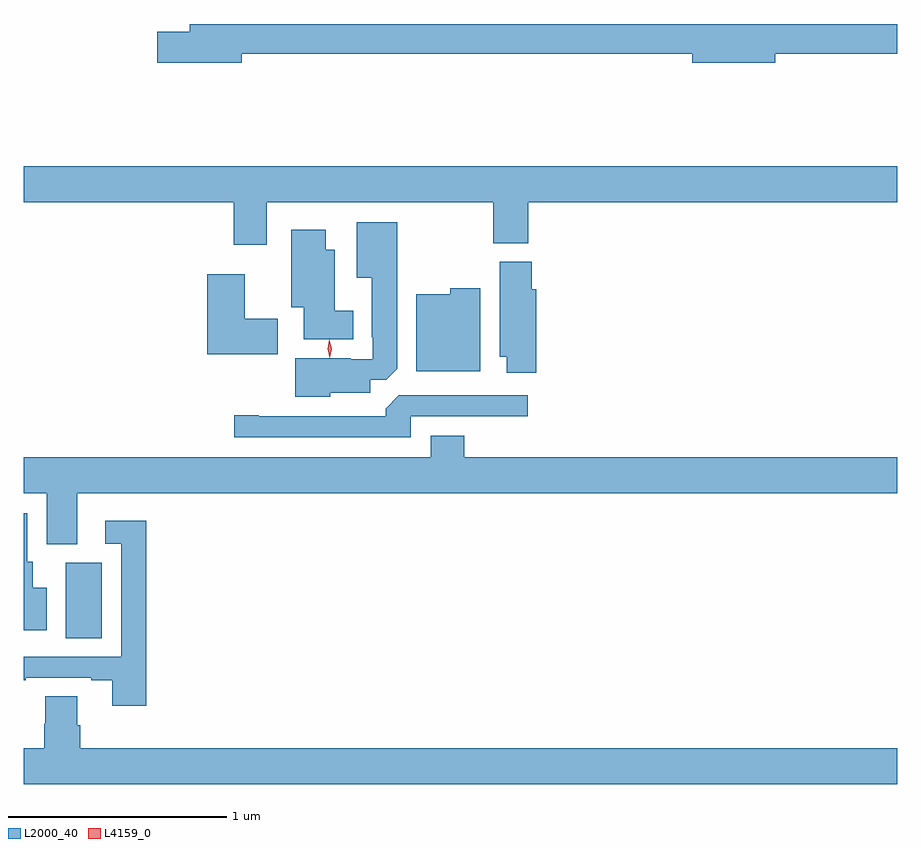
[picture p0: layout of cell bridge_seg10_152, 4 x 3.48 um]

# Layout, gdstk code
import gdstk
lib = gdstk.Library(unit=1e-6, precision=1e-09)
def R(c, l, rs):  # rectangles x0, y0, x1, y1
    for r in rs: c.add(gdstk.rectangle(r[:2], r[2:], *l))
def P(c, l, *ps):  # polygons
    for p in ps: c.add(gdstk.Polygon(p, *l))
L2000_40 = (2000, 40)
L4159_0 = (4159, 0)

bridge_seg10_152 = lib.new_cell('bridge_seg10_152')
R(bridge_seg10_152, L2000_40, [(268.814,1255.696,268.978,1256.04)])
P(bridge_seg10_152, L2000_40, [(269.62,1258.372),(271.682,1258.372),(271.682,1258.33),(272.062,1258.33),(272.062,1258.372),(272.621,1258.372),(272.621,1258.508),(269.381,1258.508),(269.381,1258.472),(269.232,1258.472),(269.232,1258.33),(269.62,1258.33)],
  [(269.734,1257.692),(270.772,1257.692),(270.772,1257.505),(270.932,1257.505),(270.932,1257.692),(272.621,1257.692),(272.621,1257.856),(268.621,1257.856),(268.621,1257.692),(269.582,1257.692),(269.582,1257.498),(269.734,1257.498)],
  [(270.024,1256.819),(270.208,1256.819),(270.208,1256.88),(270.282,1256.88),(270.331,1256.929),(270.331,1257.601),(270.146,1257.601),(270.146,1257.347),(270.215,1257.347),(270.215,1257.073),(270.219,1257.073),(270.219,1256.973),(270.119,1256.973),(270.119,1256.977),(269.864,1256.977),(269.864,1256.801),(270.024,1256.801)],
  [(270.13,1257.196),(270.046,1257.196),(270.046,1257.475),(270.004,1257.475),(270.004,1257.565),(269.846,1257.565),(269.846,1257.212),(269.903,1257.212),(269.903,1257.065),(270.13,1257.065)],
  [(270.968,1257.294),(270.947,1257.294),(270.947,1257.42),(270.8,1257.42),(270.8,1256.984),(270.833,1256.984),(270.833,1256.91),(270.968,1256.91)],
  [(269.785,1257.159),(269.632,1257.159),(269.632,1257.361),(269.462,1257.361),(269.462,1256.996),(269.785,1256.996)],
  [(270.712,1257.298),(270.573,1257.298),(270.573,1257.271),(270.419,1257.271),(270.419,1256.918),(270.712,1256.918)],
  [(270.393,1256.712),(270.928,1256.712),(270.928,1256.808),(270.339,1256.808),(270.278,1256.746),(270.278,1256.712),(269.698,1256.712),(269.698,1256.717),(269.586,1256.717),(269.586,1256.616),(270.393,1256.616)],
  [(268.867,1256.36),(272.621,1256.36),(272.621,1256.524),(270.638,1256.524),(270.638,1256.623),(270.485,1256.623),(270.485,1256.524),(268.621,1256.524),(268.621,1256.36),(268.727,1256.36),(268.727,1256.125),(268.867,1256.125)],
  [(268.726,1255.927),(268.663,1255.927),(268.663,1256.046),(268.638,1256.046),(268.638,1256.268),(268.621,1256.268),(268.621,1255.731),(268.726,1255.731)],
  [(269.183,1256.233),(268.995,1256.233),(268.995,1256.127),(269.067,1256.127),(269.067,1255.611),(268.621,1255.611),(268.621,1255.503),(268.631,1255.503),(268.631,1255.515),(268.931,1255.515),(268.931,1255.503),(269.027,1255.503),(269.027,1255.386),(269.183,1255.386)],
  [(272.621,1255.192),(268.88,1255.192),(268.88,1255.298),(268.867,1255.298),(268.867,1255.43),(268.72,1255.43),(268.72,1255.305),(268.715,1255.305),(268.715,1255.192),(268.621,1255.192),(268.621,1255.028),(272.621,1255.028)])
P(bridge_seg10_152, L4159_0, [(270.022,1256.98),(270.022,1256.98),(270.012,1257.021),(270.021,1257.062),(270.021,1257.062),(270.021,1257.062),(270.031,1257.021),(270.022,1256.98)])

lib.write_gds('bridge_seg10_152.gds')
